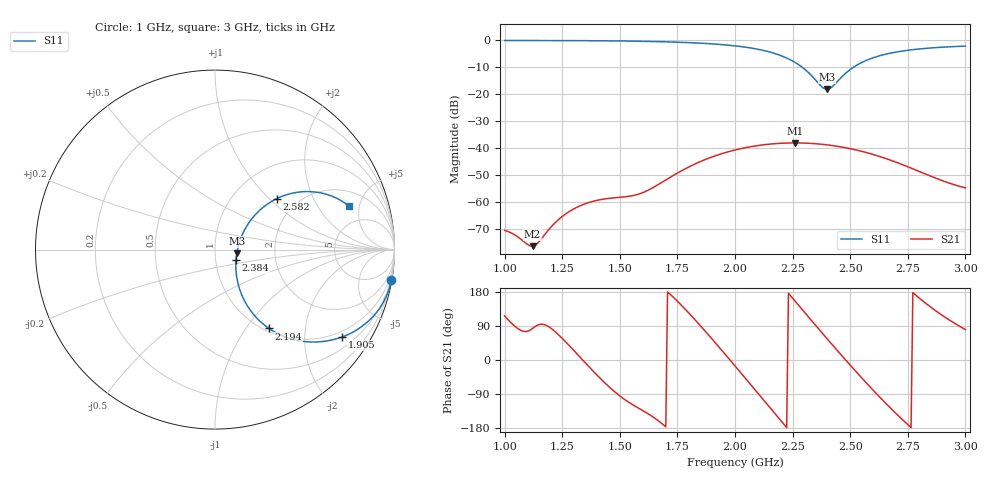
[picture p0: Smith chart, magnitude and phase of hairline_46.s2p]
! TOUCHSTONE file generated by CST MICROWAVE STUDIO
! Date and time: Tue Mar 18 20:31:57 2025
! Project name: hairline.cst
! Parameters = {B=12.5; D=160; F=25; Feed=2.85625; Fracture=0.5; L=100; M=50; R=0.384908; S=1.5; Theta=270; length=57.125; wave=114.25}
! Header version: 2024
! Port assignment regex: !\s*Touchstone port\s*([0-9]+)\s*=\s*(CST MWS port|CST DES external port|CST DES block port)\s*(.+)\s* \(\"(.*)\"\)(\s*mode\s*([0-9]+))?.*
! Touchstone port assignment:
! Touchstone port 1 = CST MWS port 1 ("")
! Touchstone port 2 = CST MWS port 2 ("")
# GHz S DB R 50
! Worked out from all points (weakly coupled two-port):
!   264 points, 1 GHz to 3 GHz, reference 50 ohm
!   highest |S21| = -38.07 dB at 2.262 GHz (marker M1); lowest = -76.4 dB at 1.122 GHz (marker M2)
!   lowest |S11| = -18.2 dB at 2.399 GHz (marker M3), VSWR 1.28, Z = 63.8 - j2.55 ohm
!   |S11| at or under -10 dB: 2.292 GHz to 2.514 GHz (221.4 MHz wide, 9.22 % of centre)
!   S12 and S22 are empty: the file has one direction only
!   S11 on the Smith chart (normalised r, x): 1 GHz: 0, -12; 1.905 GHz: 0.81, -3.02; 2.194 GHz: 1.05, -1.29; 2.384 GHz: 1.26, -0.14; 2.582 GHz: 1.57, +1.11; 3 GHz: 3.09, +3.92
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1  -0.02 -9.8  -70.54 116.5  -200.00 0.0  -200.00 0.0
1.12167  -0.03 -11.5  -76.42 83.4  -200.00 0.0  -200.00 0.0
1.14449  -0.04 -11.8  -75.23 92.5  -200.00 0.0  -200.00 0.0
1.24335  -0.06 -13.5  -65.85 61.3  -200.00 0.0  -200.00 0.0
1.3346  -0.09 -15.2  -61.18 2.8  -200.00 0.0  -200.00 0.0
1.41825  -0.14 -17.0  -59.10 -50.3  -200.00 0.0  -200.00 0.0
1.57034  -0.29 -21.0  -57.37 -123.2  -200.00 0.0  -200.00 0.0
1.6692  -0.46 -24.2  -53.41 -161.2  -200.00 0.0  -200.00 0.0
1.79087  -0.79 -28.9  -47.37 129.6  -200.00 0.0  -200.00 0.0
1.90494  -1.32 -34.5  -43.14 52.2  -200.00 0.0  -200.00 0.0
2.0038  -2.07 -40.5  -40.62 -18.3  -200.00 0.0  -200.00 0.0
2.19392  -5.48 -55.6  -38.23 -156.3  -200.00 0.0  -200.00 0.0
2.26236  -8.26 -59.8  -38.07 154.2  -200.00 0.0  -200.00 0.0
2.3384  -13.63 -53.6  -38.30 99.6  -200.00 0.0  -200.00 0.0
2.38403  -17.71 -25.7  -38.64 67.1  -200.00 0.0  -200.00 0.0
2.39924  -18.19 -9.2  -38.79 56.4  -200.00 0.0  -200.00 0.0
2.42205  -17.20 14.1  -39.05 40.4  -200.00 0.0  -200.00 0.0
2.5057  -10.47 40.9  -40.31 -17.4  -200.00 0.0  -200.00 0.0
2.58175  -7.01 39.5  -41.92 -68.1  -200.00 0.0  -200.00 0.0
2.673  -4.76 33.8  -44.41 -125.7  -200.00 0.0  -200.00 0.0
2.8251  -2.97 25.1  -49.57 151.0  -200.00 0.0  -200.00 0.0
3  -2.11 18.1  -54.76 80.3  -200.00 0.0  -200.00 0.0
